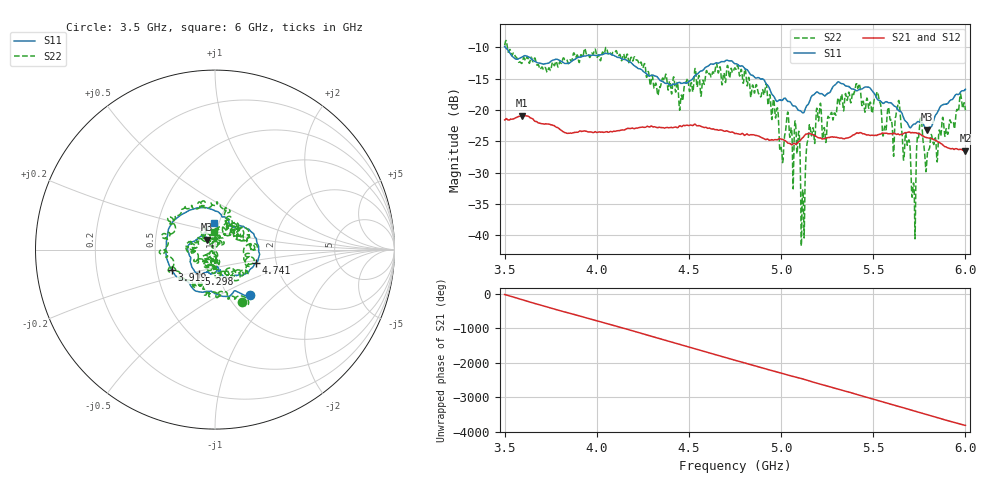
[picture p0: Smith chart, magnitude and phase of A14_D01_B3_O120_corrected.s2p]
! Created with skrf 1.9.0 (http://scikit-rf.org).
# Hz S RI R 50.0
!freq ReS11 ImS11 ReS21 ImS21 ReS12 ImS12 ReS22 ImS22
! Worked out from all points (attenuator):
!   1601 points, 3.5 GHz to 6 GHz, reference 50 ohm
!   highest |S21| = -20.89 dB at 3.592 GHz (marker M1); lowest = -26.5 dB at 6 GHz (marker M2)
!   lowest |S11| = -23.1 dB at 5.791 GHz (marker M3), VSWR 1.15, Z = 45.6 + j5.01 ohm
!   |S11| at or under -10 dB: 3.505 GHz to end of sweep
!   |S22| runs from -41.8 to -8.9 dB; largest |S21 - S12| = 0.0013
!   S11 on the Smith chart (normalised r, x): 3.5 GHz: 1.26, -0.72; 3.919 GHz: 0.60, -0.15; 4.741 GHz: 1.57, -0.24; 5.298 GHz: 0.81, -0.22; 6 GHz: 0.95, +0.28
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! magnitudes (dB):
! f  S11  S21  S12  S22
! 3.5 GHz  -9.9  -21.6  -21.6  -9.7
! 3.592 GHz  -11.6  -20.9  -20.9  -12.6
! 3.917 GHz  -11.5  -23.4  -23.4  -11.2
! 3.919 GHz  -11.5  -23.4  -23.4  -11.4
! 4.334 GHz  -15.0  -22.8  -22.7  -17.3
! 4.741 GHz  -12.4  -23.6  -23.6  -13.9
! 4.75 GHz  -12.6  -23.8  -23.7  -13.3
! 4.928 GHz  -16.1  -24.7  -24.7  -18.9
! 5.003 GHz  -18.5  -24.7  -24.7  -26.7
! 5.031 GHz  -18.5  -25.1  -25.1  -21.2
! 5.086 GHz  -19.8  -25.4  -25.3  -27.0
! 5.119 GHz  -20.5  -24.4  -24.4  -33.1
! 5.145 GHz  -19.2  -23.8  -23.8  -24.8
! 5.167 GHz  -17.7  -23.9  -23.9  -24.0
! 5.298 GHz  -15.8  -24.4  -24.4  -20.8
! 5.416 GHz  -16.9  -23.7  -23.7  -16.5
! 5.584 GHz  -18.9  -23.8  -23.8  -19.7
! 5.641 GHz  -20.2  -24.0  -23.9  -18.7
! 5.719 GHz  -22.3  -23.6  -23.6  -31.7
! 5.752 GHz  -21.9  -23.8  -23.8  -22.3
! 5.791 GHz  -23.1  -24.4  -24.4  -28.2
! 6 GHz  -16.7  -26.5  -26.4  -20.0
